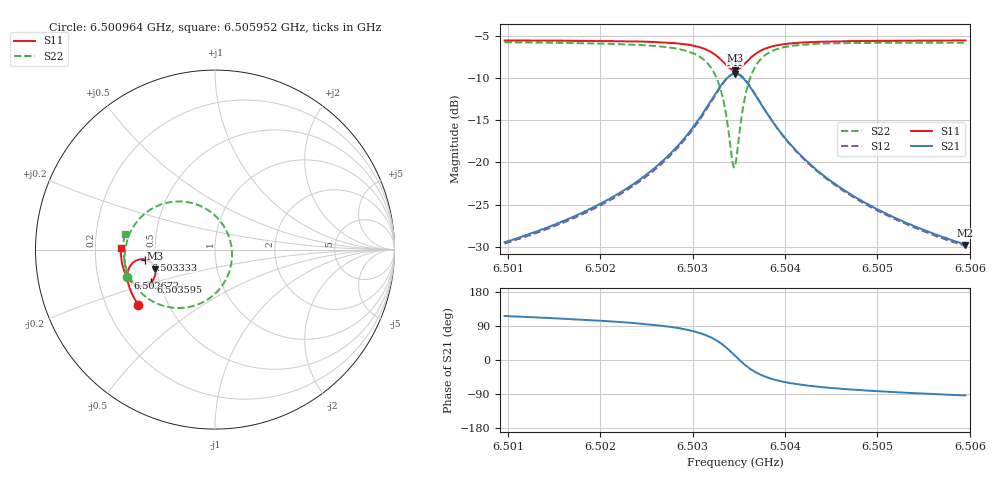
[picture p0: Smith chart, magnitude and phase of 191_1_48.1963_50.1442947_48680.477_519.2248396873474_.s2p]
#  HZ  S  RI  R  50.00
! Rohde & Schwarz Vector Network Analyzer
! Rohde-Schwarz,ZNB20-2Port,1311601062101988,3.16
! Created: UTC 3/20/2024, 11:44:37 AM
! freq[Hz]  re:S11  im:S11  re:S21  im:S21  re:S12  im:S12  re:S22  im:S22
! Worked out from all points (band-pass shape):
!   401 points, 6.500964 GHz to 6.505952 GHz, reference 50 ohm
!   highest |S21| = -9.53 dB at 6.503458 GHz (marker M1); lowest = -29.7 dB at 6.505952 GHz (marker M2)
!   |S21| within 3 dB of the highest: 6.503208 GHz to 6.503707 GHz (499.1 kHz wide, 0.00767 % of centre)
!   lowest |S11| = -9.1 dB at 6.503458 GHz (marker M3), VSWR 2.08, Z = 24.4 - j5.9 ohm
!   |S11| at or under -10 dB: nowhere
!   |S22| runs from -20.6 to -5.8 dB; largest |S21 - S12| = 0.012
!   S11 on the Smith chart (normalised r, x): 6.500964 GHz: 0.34, -0.29; 6.502672 GHz: 0.33, -0.14; 6.503333 GHz: 0.44, -0.06; 6.503595 GHz: 0.45, -0.19; 6.505952 GHz: 0.31, +0.01
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6.5009638e9  -0.4269 -0.3082  -0.0149 0.0304  -0.0132 0.0304  -0.4904 -0.1526
6.5017993e9  -0.4626 -0.2462  -0.0141 0.0482  -0.0118 0.0478  -0.5031 -0.0636
6.5022482e9  -0.4785 -0.2064  -0.0113 0.0672  -0.00828 0.066  -0.5002 0.000319
6.5026348e9  -0.4875 -0.1636  -0.00195 0.0975  0.00164 0.0953  -0.4798 0.0778
6.5026722e9  -0.4879 -0.1588  -0.000162 0.1018  0.00349 0.0992  -0.4758 0.0874
6.5029465e9  -0.4836 -0.1157  0.027 0.1448  0.0307 0.1401  -0.4194 0.1737
6.5031336e9  -0.4618 -0.0776  0.082 0.1871  0.0845 0.1809  -0.314 0.2465
6.5032458e9  -0.4287 -0.0569  0.1522 0.2044  0.1529 0.1983  -0.1876 0.2682
6.5033331e9  -0.3877 -0.0557  0.2328 0.1877  0.233 0.1825  -0.0486 0.226
6.5034204e9  -0.3456 -0.0841  0.31 0.1139  0.3123 0.1092  0.0744 0.0808
6.5034453e9  -0.3377 -0.0981  0.3231 0.0824  0.3262 0.0772  0.0908 0.0218
6.5034578e9  -0.3348 -0.1058  0.3274 0.0657  0.3307 0.06  0.0946 -0.00928
6.5034827e9  -0.332 -0.1218  0.3307 0.0317  0.3343 0.0247  0.0921 -0.0715
6.5035201e9  -0.3342 -0.1454  0.3234 -0.0177  0.3264 -0.0267  0.065 -0.159
6.503595e9  -0.3561 -0.1816  0.2777 -0.093  0.277 -0.1043  -0.0436 -0.2796
6.5037072e9  -0.401 -0.2011  0.192 -0.1377  0.1865 -0.1472  -0.2165 -0.3253
6.5038693e9  -0.4476 -0.1917  0.1094 -0.1341  0.1022 -0.1391  -0.3653 -0.2774
6.5040439e9  -0.4752 -0.1704  0.0645 -0.1136  0.0581 -0.1159  -0.4381 -0.2117
6.5042933e9  -0.496 -0.1403  0.0344 -0.0889  0.0293 -0.0894  -0.4818 -0.139
6.5046923e9  -0.5122 -0.0987  0.0142 -0.0642  0.011 -0.0637  -0.5051 -0.0596
6.5051288e9  -0.521 -0.0584  0.00518 -0.0486  0.00274 -0.0479  -0.5104 0.00198
6.5059518e9  -0.5259 0.0115  -0.00199 -0.0325  -0.00342 -0.0318  -0.5027 0.0896
